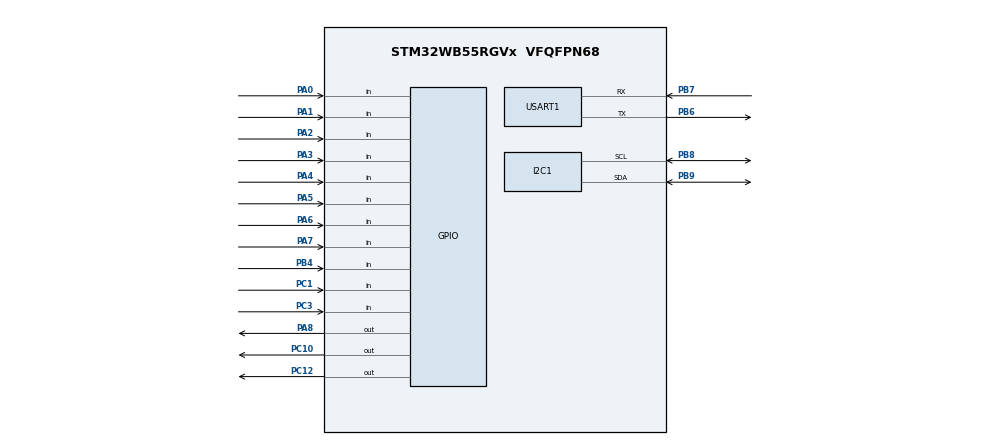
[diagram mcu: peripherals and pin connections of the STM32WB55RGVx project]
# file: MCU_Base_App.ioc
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Mcu.Family=STM32WB
Mcu.Name=STM32WB55RGVx
Mcu.Package=VFQFPN68
NVIC.PriorityGroup=NVIC_PRIORITYGROUP_4
PA0.Signal=GPIO_Input
PA1.Signal=GPIO_Input
PA2.Signal=GPIO_Input
PA3.Signal=GPIO_Input
PA4.Signal=GPIO_Input
PA5.Signal=GPIO_Input
PA6.Signal=GPIO_Input
PA7.Signal=GPIO_Input
PA8.Signal=GPIO_Output
PB4.Signal=GPIO_Input
PB6.Mode=Asynchronous
PB6.Signal=USART1_TX
PB7.Mode=Asynchronous
PB7.Signal=USART1_RX
PB8.Mode=I2C
PB8.Signal=I2C1_SCL
PB9.Mode=I2C
PB9.Signal=I2C1_SDA
PC1.Signal=GPIO_Input
PC10.Signal=GPIO_Output
PC12.Signal=GPIO_Output
PC3.Signal=GPIO_Input
ProjectManager.HeapSize=0x200
ProjectManager.StackSize=0x400
ProjectManager.TargetToolchain=STM32CubeIDE
RCC.APB3Freq_Value=16000000
RCC.HSE_VALUE=8000000
RCC.HSI48_VALUE=48000000
RCC.HSI_VALUE=16000000
RCC.LSE_VALUE=32768
RCC.VCOOutputFreq_Value=32000000
USART1.VirtualMode-Asynchronous=VM_ASYNC
VP_MEMORYMAP_VS_MEMORYMAP.Mode=CurAppReg
board=custom

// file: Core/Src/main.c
/* USER CODE BEGIN Header */
/**
  ******************************************************************************
  * @file           : main.c
  * @brief          : Main program body
  ******************************************************************************
  * @attention
  *
  * Copyright (c) 2024 STMicroelectronics.
  * All rights reserved.
  *
  * This software is licensed under terms that can be found in the LICENSE file
  * in the root directory of this software component.
  * If no LICENSE file comes with this software, it is provided AS-IS.
  *
  ******************************************************************************
  */
/* USER CODE END Header */
#include "main.h"

/* USER CODE BEGIN Includes */
#include "Drivers/uart.h"
#include <stdio.h>
#include "Drivers/OV7670.h"
#include "stm32wbxx_ll_gpio.h"
#include "Essentials/stm32wbxx_nucleo.h"
#include "Imported_Libs/dwt_delay.h"
/* USER CODE END Includes */

I2C_HandleTypeDef hi2c1;

UART_HandleTypeDef huart1;

void SystemClock_Config(void);
void PeriphCommonClock_Config(void);
static void MX_GPIO_Init(void);
static void MX_I2C1_Init(void);
static void MX_USART1_UART_Init(void);
/* USER CODE BEGIN PFP */
#define PUTCHAR_PROTOTYPE int __io_putchar(int ch)

/* USER CODE END PFP */

int main(void)
{

  /* MCU Configuration--------------------------------------------------------*/

  /* Reset of all peripherals, Initializes the Flash interface and the Systick. */
  HAL_Init();

  /* Configure the system clock */
  SystemClock_Config();

/* Configure the peripherals common clocks */
  PeriphCommonClock_Config();

  /* Initialize all configured peripherals */
  MX_USART1_UART_Init();
//  uint8_t message_buf[100] = "Entering main..\n----System Config Reporting----\n";
//  strcpy((char*) message_buf, "Press button to continue\n");
//  transmit_UART_message(message_buf);
  MX_GPIO_Init();
  MX_I2C1_Init();
  /* USER CODE BEGIN 2 */
  DWT_Init();
//  printf("** Test finished successfully. ** \n\r");
  OV7670_init_peripherals();
  HAL_RCC_MCOConfig (RCC_MCO1, RCC_MCO1SOURCE_SYSCLK, RCC_MCODIV_2);
  OV7670_reset();
  OV7670_init();
  /* USER CODE END 2 */

  /* Infinite loop */
  /* USER CODE BEGIN WHILE */
  while (1)
  {
	  // Delay just for functionality //
	  HAL_Delay(2500);

	  // Reset Counter //
	  DWT->CYCCNT = 0;
	  get_frame();
	  uint32_t end = DWT->CYCCNT;

//	  printf("#Frame grabbed - Time required:%ld -> Press button to transfer frame\n",end);
	  transmit_UART_frame(1);
    /* USER CODE END WHILE */

  }
}

void SystemClock_Config(void)
{
  RCC_OscInitTypeDef RCC_OscInitStruct = {0};
  RCC_ClkInitTypeDef RCC_ClkInitStruct = {0};
  RCC_PeriphCLKInitTypeDef PeriphClkInitStruct = {0};

  // Macro to configure the PLL multiplication factor //
  __HAL_RCC_PLL_PLLM_CONFIG(RCC_PLLM_DIV1);

  // Macro to configure the PLL clock source //
  __HAL_RCC_PLL_PLLSOURCE_CONFIG(RCC_PLLSOURCE_MSI);

  // Configure LSE Drive Capability //
  HAL_PWR_EnableBkUpAccess();
  __HAL_RCC_LSEDRIVE_CONFIG(RCC_LSEDRIVE_LOW);

  // Configure the main internal regulator output voltage //
  __HAL_PWR_VOLTAGESCALING_CONFIG(PWR_REGULATOR_VOLTAGE_SCALE1);

  // Initializes the CPU, AHB and APB busses clocks //
  RCC_OscInitStruct.OscillatorType = RCC_OSCILLATORTYPE_HSI|RCC_OSCILLATORTYPE_HSE
                              |RCC_OSCILLATORTYPE_LSE|RCC_OSCILLATORTYPE_MSI;
  RCC_OscInitStruct.HSEState = RCC_HSE_ON;
  RCC_OscInitStruct.LSEState = RCC_LSE_ON;
  RCC_OscInitStruct.HSIState = RCC_HSI_ON;
  RCC_OscInitStruct.MSIState = RCC_MSI_ON;
  RCC_OscInitStruct.HSICalibrationValue = RCC_HSICALIBRATION_DEFAULT;
  RCC_OscInitStruct.MSICalibrationValue = RCC_MSICALIBRATION_DEFAULT;
  RCC_OscInitStruct.MSIClockRange = RCC_MSIRANGE_6;
  RCC_OscInitStruct.PLL.PLLState = RCC_PLL_NONE;
  if (HAL_RCC_OscConfig(&RCC_OscInitStruct) != HAL_OK)
    Error_Handler();

  // Configure the SYSCLKSource, HCLK, PCLK1 and PCLK2 clocks dividers //
  RCC_ClkInitStruct.ClockType = RCC_CLOCKTYPE_HCLK4|RCC_CLOCKTYPE_HCLK2
                              |RCC_CLOCKTYPE_HCLK|RCC_CLOCKTYPE_SYSCLK
                              |RCC_CLOCKTYPE_PCLK1|RCC_CLOCKTYPE_PCLK2;
  RCC_ClkInitStruct.SYSCLKSource = RCC_SYSCLKSOURCE_HSE;
  RCC_ClkInitStruct.AHBCLKDivider = RCC_SYSCLK_DIV1;
  RCC_ClkInitStruct.APB1CLKDivider = RCC_HCLK_DIV1;
  RCC_ClkInitStruct.APB2CLKDivider = RCC_HCLK_DIV1;
  RCC_ClkInitStruct.AHBCLK2Divider = RCC_SYSCLK_DIV1;
  RCC_ClkInitStruct.AHBCLK4Divider = RCC_SYSCLK_DIV1;

  if (HAL_RCC_ClockConfig(&RCC_ClkInitStruct, FLASH_LATENCY_1) != HAL_OK)
    Error_Handler();

  //Initializes the peripherals clocks //
  PeriphClkInitStruct.PeriphClockSelection = RCC_PERIPHCLK_SMPS|RCC_PERIPHCLK_USART1
                              |RCC_PERIPHCLK_I2C1|RCC_PERIPHCLK_USB;
  PeriphClkInitStruct.PLLSAI1.PLLN = 24;
  PeriphClkInitStruct.PLLSAI1.PLLP = RCC_PLLP_DIV2;
  PeriphClkInitStruct.PLLSAI1.PLLQ = RCC_PLLQ_DIV2;
  PeriphClkInitStruct.PLLSAI1.PLLR = RCC_PLLR_DIV2;
  PeriphClkInitStruct.PLLSAI1.PLLSAI1ClockOut = RCC_PLLSAI1_USBCLK;
  PeriphClkInitStruct.Usart1ClockSelection = RCC_USART1CLKSOURCE_PCLK2;
  PeriphClkInitStruct.I2c1ClockSelection = RCC_I2C1CLKSOURCE_PCLK1;
  PeriphClkInitStruct.UsbClockSelection = RCC_USBCLKSOURCE_PLLSAI1;
  PeriphClkInitStruct.SmpsClockSelection = RCC_SMPSCLKSOURCE_HSI;
  PeriphClkInitStruct.SmpsDivSelection = RCC_SMPSCLKDIV_RANGE0;

  if (HAL_RCCEx_PeriphCLKConfig(&PeriphClkInitStruct) != HAL_OK)
    Error_Handler();

  // Enable MSI Auto calibration //
  HAL_RCCEx_EnableMSIPLLMode();
}

void PeriphCommonClock_Config(void)
{
  RCC_PeriphCLKInitTypeDef PeriphClkInitStruct = {0};

  /** Initializes the peripherals clock
  */
  PeriphClkInitStruct.PeriphClockSelection = RCC_PERIPHCLK_SMPS;
  PeriphClkInitStruct.SmpsClockSelection = RCC_SMPSCLKSOURCE_HSI;
  PeriphClkInitStruct.SmpsDivSelection = RCC_SMPSCLKDIV_RANGE1;

  if (HAL_RCCEx_PeriphCLKConfig(&PeriphClkInitStruct) != HAL_OK)
  {
    Error_Handler();
  }
}

static void MX_I2C1_Init(void)
{

  hi2c1.Instance = I2C1;
  hi2c1.Init.Timing = 100000;
  hi2c1.Init.OwnAddress1 = 0;
  hi2c1.Init.AddressingMode = I2C_ADDRESSINGMODE_7BIT;
  hi2c1.Init.DualAddressMode = I2C_DUALADDRESS_DISABLE;
  hi2c1.Init.OwnAddress2 = 0;
  hi2c1.Init.OwnAddress2Masks = I2C_OA2_NOMASK;
  hi2c1.Init.GeneralCallMode = I2C_GENERALCALL_DISABLE;
  hi2c1.Init.NoStretchMode = I2C_NOSTRETCH_DISABLE;
  if (HAL_I2C_Init(&hi2c1) != HAL_OK)
  {
    Error_Handler();
  }

  /** Configure Analogue filter
  */
  if (HAL_I2CEx_ConfigAnalogFilter(&hi2c1, I2C_ANALOGFILTER_ENABLE) != HAL_OK)
  {
    Error_Handler();
  }

  /** Configure Digital filter
  */
  if (HAL_I2CEx_ConfigDigitalFilter(&hi2c1, 0) != HAL_OK)
  {
    Error_Handler();
  }

}

static void MX_USART1_UART_Init(void)
{

  huart1.Instance = USART1;
  huart1.Init.BaudRate = 230400;
  huart1.Init.WordLength = UART_WORDLENGTH_8B;
  huart1.Init.StopBits = UART_STOPBITS_1;
  huart1.Init.Parity = UART_PARITY_NONE;
  huart1.Init.Mode = UART_MODE_TX_RX;
  huart1.Init.HwFlowCtl = UART_HWCONTROL_NONE;
  huart1.Init.OverSampling = UART_OVERSAMPLING_16;
  huart1.Init.OneBitSampling = UART_ONE_BIT_SAMPLE_DISABLE;
  huart1.Init.ClockPrescaler = UART_PRESCALER_DIV1;
  huart1.AdvancedInit.AdvFeatureInit = UART_ADVFEATURE_NO_INIT;
  if (HAL_UART_Init(&huart1) != HAL_OK)
  {
    Error_Handler();
  }
  if (HAL_UARTEx_SetTxFifoThreshold(&huart1, UART_TXFIFO_THRESHOLD_1_8) != HAL_OK)
  {
    Error_Handler();
  }
  if (HAL_UARTEx_SetRxFifoThreshold(&huart1, UART_RXFIFO_THRESHOLD_1_8) != HAL_OK)
  {
    Error_Handler();
  }
  if (HAL_UARTEx_DisableFifoMode(&huart1) != HAL_OK)
  {
    Error_Handler();
  }

}

static void MX_GPIO_Init(void)
{
  GPIO_InitTypeDef GPIO_InitStruct = {0};

  /* GPIO Ports Clock Enable */
  __HAL_RCC_GPIOB_CLK_ENABLE();
  __HAL_RCC_GPIOC_CLK_ENABLE();
  __HAL_RCC_GPIOA_CLK_ENABLE();

  /*Configure GPIO pin Output Level */
  HAL_GPIO_WritePin(GPIOA, GPIO_PIN_8, GPIO_PIN_RESET);

  /*Configure GPIO pin Output Level */
  HAL_GPIO_WritePin(GPIOC, GPIO_PIN_10|GPIO_PIN_12, GPIO_PIN_RESET);

  /*Configure GPIO pins : PC1 PC3 */
  GPIO_InitStruct.Pin = GPIO_PIN_1|GPIO_PIN_3;
  GPIO_InitStruct.Mode = GPIO_MODE_INPUT;
  GPIO_InitStruct.Pull = GPIO_NOPULL;
  HAL_GPIO_Init(GPIOC, &GPIO_InitStruct);

  /*Configure GPIO pins : PA0 PA1 PA2 PA3
                           PA4 PA5 PA6 PA7 */
  GPIO_InitStruct.Pin = GPIO_PIN_0|GPIO_PIN_1|GPIO_PIN_2|GPIO_PIN_3
                          |GPIO_PIN_4|GPIO_PIN_5|GPIO_PIN_6|GPIO_PIN_7;
  GPIO_InitStruct.Mode = GPIO_MODE_INPUT;
  GPIO_InitStruct.Pull = GPIO_NOPULL;
  HAL_GPIO_Init(GPIOA, &GPIO_InitStruct);

  /*Configure GPIO pin : PA8 */
  GPIO_InitStruct.Pin = GPIO_PIN_8;
  GPIO_InitStruct.Mode = GPIO_MODE_OUTPUT_PP;
  GPIO_InitStruct.Pull = GPIO_NOPULL;
  GPIO_InitStruct.Speed = GPIO_SPEED_FREQ_LOW;
  HAL_GPIO_Init(GPIOA, &GPIO_InitStruct);

  /*Configure GPIO pins : PC10 PC12 */
  GPIO_InitStruct.Pin = GPIO_PIN_10|GPIO_PIN_12;
  GPIO_InitStruct.Mode = GPIO_MODE_OUTPUT_PP;
  GPIO_InitStruct.Pull = GPIO_NOPULL;
  GPIO_InitStruct.Speed = GPIO_SPEED_FREQ_LOW;
  HAL_GPIO_Init(GPIOC, &GPIO_InitStruct);

  /*Configure GPIO pin : PB4 */
  GPIO_InitStruct.Pin = GPIO_PIN_4;
  GPIO_InitStruct.Mode = GPIO_MODE_INPUT;
  GPIO_InitStruct.Pull = GPIO_NOPULL;
  HAL_GPIO_Init(GPIOB, &GPIO_InitStruct);

/* USER CODE BEGIN MX_GPIO_Init_2 */
  if (huart1.Instance == USART1)
    {
      // Peripheral clock enable //
      LL_APB2_GRP1_EnableClock(LL_APB2_GRP1_PERIPH_USART1);
      LL_AHB2_GRP1_EnableClock(LL_AHB2_GRP1_PERIPH_GPIOB);

      LL_GPIO_SetPinMode(GPIOB, LL_GPIO_PIN_6, LL_GPIO_MODE_ALTERNATE);
      LL_GPIO_SetPinOutputType(GPIOB, LL_GPIO_PIN_6, LL_GPIO_OUTPUT_PUSHPULL);
      LL_GPIO_SetPinSpeed(GPIOB, LL_GPIO_PIN_6, LL_GPIO_SPEED_FREQ_VERY_HIGH);
      LL_GPIO_SetPinPull(GPIOB, LL_GPIO_PIN_6, LL_GPIO_PULL_UP);
      LL_GPIO_SetAFPin_0_7(GPIOB, LL_GPIO_PIN_6, LL_GPIO_AF_7);

      LL_GPIO_SetPinMode(GPIOB, LL_GPIO_PIN_7, LL_GPIO_MODE_ALTERNATE);
      LL_GPIO_SetPinOutputType(GPIOB, LL_GPIO_PIN_7, LL_GPIO_OUTPUT_PUSHPULL);
      LL_GPIO_SetPinSpeed(GPIOB, LL_GPIO_PIN_7, LL_GPIO_SPEED_FREQ_VERY_HIGH);
      LL_GPIO_SetPinPull(GPIOB, LL_GPIO_PIN_7, LL_GPIO_PULL_UP);
      LL_GPIO_SetAFPin_0_7(GPIOB, LL_GPIO_PIN_7, LL_GPIO_AF_7);
    }
/* USER CODE END MX_GPIO_Init_2 */
}

/* USER CODE BEGIN 4 */
PUTCHAR_PROTOTYPE
{
  /* Place your implementation of fputc here */
  /* e.g. write a character to the USART1 and Loop until the end of transmission */
  HAL_UART_Transmit(&huart1, (uint8_t *)&ch, 1, 0xFFFF);

  return ch;
}

/* Function that waits for a button press */
void get_button_press(Button_TypeDef button)
{
  while (BSP_PB_GetState(button) != GPIO_PIN_RESET);
  HAL_Delay(50);
  while (BSP_PB_GetState(button) != GPIO_PIN_SET);
}
/* USER CODE END 4 */

void Error_Handler(void)
{
  __disable_irq();
  while (1)
  {
  }
}
